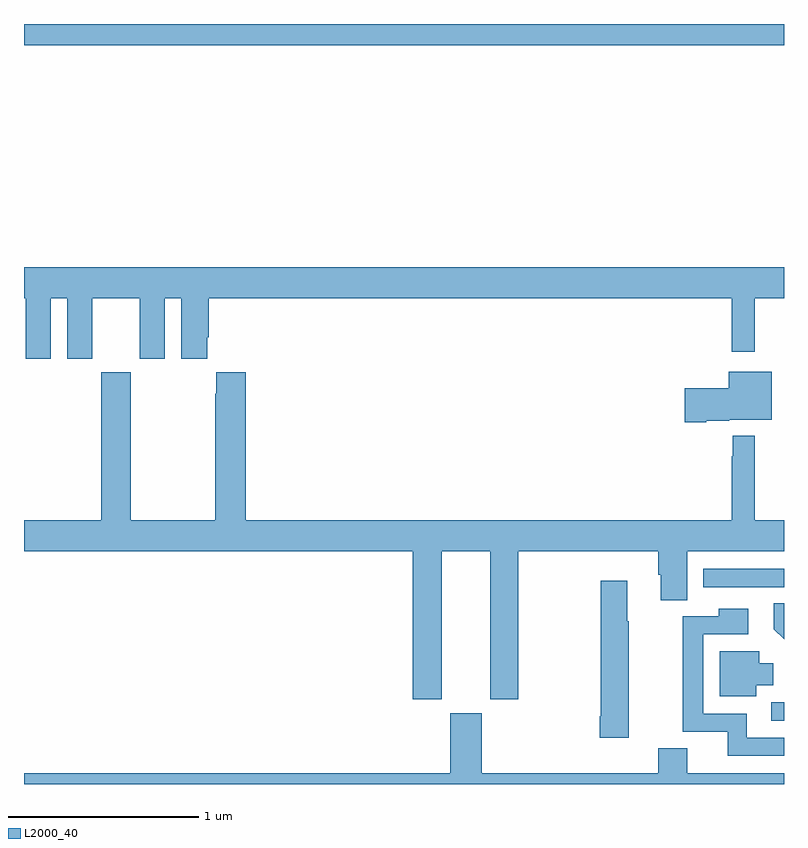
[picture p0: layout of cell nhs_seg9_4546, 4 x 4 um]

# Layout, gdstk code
import gdstk
lib = gdstk.Library(unit=1e-6, precision=1e-09)
def R(c, l, rs):  # rectangles x0, y0, x1, y1
    for r in rs: c.add(gdstk.rectangle(r[:2], r[2:], *l))
def P(c, l, *ps):  # polygons
    for p in ps: c.add(gdstk.Polygon(p, *l))
L2000_40 = (2000, 40)

nhs_seg9_4546 = lib.new_cell('nhs_seg9_4546')
R(nhs_seg9_4546, L2000_40, [(374.934,1224.834,375,1224.93), (374.576,1225.536,375,1225.632), (371,1228.388,375,1228.5)])
P(nhs_seg9_4546, L2000_40, [(371.14,1227.056),(371.228,1227.056),(371.228,1226.739),(371.359,1226.739),(371.359,1227.056),(371.609,1227.056),(371.609,1226.739),(371.74,1226.739),(371.74,1227.056),(371.828,1227.056),(371.828,1226.739),(371.965,1226.739),(371.965,1226.851),(371.972,1226.851),(371.972,1227.056),(374.724,1227.056),(374.724,1226.775),(374.845,1226.775),(374.845,1227.056),(375,1227.056),(375,1227.22),(371,1227.22),(371,1227.056),(371.009,1227.056),(371.009,1226.739),(371.14,1226.739)],
  [(374.59,1226.411),(374.712,1226.411),(374.712,1226.417),(374.935,1226.417),(374.935,1226.671),(374.708,1226.671),(374.708,1226.583),(374.478,1226.583),(374.478,1226.405),(374.59,1226.405)],
  [(373.198,1225.724),(373.454,1225.724),(373.454,1224.945),(373.602,1224.945),(373.602,1225.724),(374.339,1225.724),(374.339,1225.602),(374.351,1225.602),(374.351,1225.468),(374.491,1225.468),(374.491,1225.724),(375,1225.724),(375,1225.888),(374.845,1225.888),(374.845,1226.332),(374.731,1226.332),(374.731,1226.225),(374.724,1226.225),(374.724,1225.888),(372.167,1225.888),(372.167,1226.668),(372.011,1226.668),(372.011,1226.555),(372.007,1226.555),(372.007,1225.888),(371.562,1225.888),(371.562,1226.668),(371.407,1226.668),(371.407,1225.888),(371,1225.888),(371,1225.724),(373.046,1225.724),(373.046,1224.945),(373.198,1224.945)],
  [(374.184,1225.357),(374.176,1225.357),(374.176,1225.57),(374.035,1225.57),(374.035,1224.856),(374.03,1224.856),(374.03,1224.744),(374.184,1224.744)],
  [(375,1225.451),(374.947,1225.451),(374.947,1225.315),(375,1225.262)],
  [(375,1224.744),(374.803,1224.744),(374.803,1224.87),(374.574,1224.87),(374.574,1225.287),(374.812,1225.287),(374.812,1225.423),(374.656,1225.423),(374.656,1225.383),(374.466,1225.383),(374.466,1224.774),(374.705,1224.774),(374.705,1224.648),(375,1224.648)],
  [(374.854,1225.019),(374.944,1225.019),(374.944,1225.135),(374.869,1225.135),(374.869,1225.198),(374.663,1225.198),(374.663,1224.962),(374.854,1224.962)],
  [(374.339,1224.689),(374.339,1224.556),(373.408,1224.556),(373.408,1224.873),(373.244,1224.873),(373.244,1224.556),(371,1224.556),(371,1224.5),(375,1224.5),(375,1224.556),(374.491,1224.556),(374.491,1224.689)])

lib.write_gds('nhs_seg9_4546.gds')
